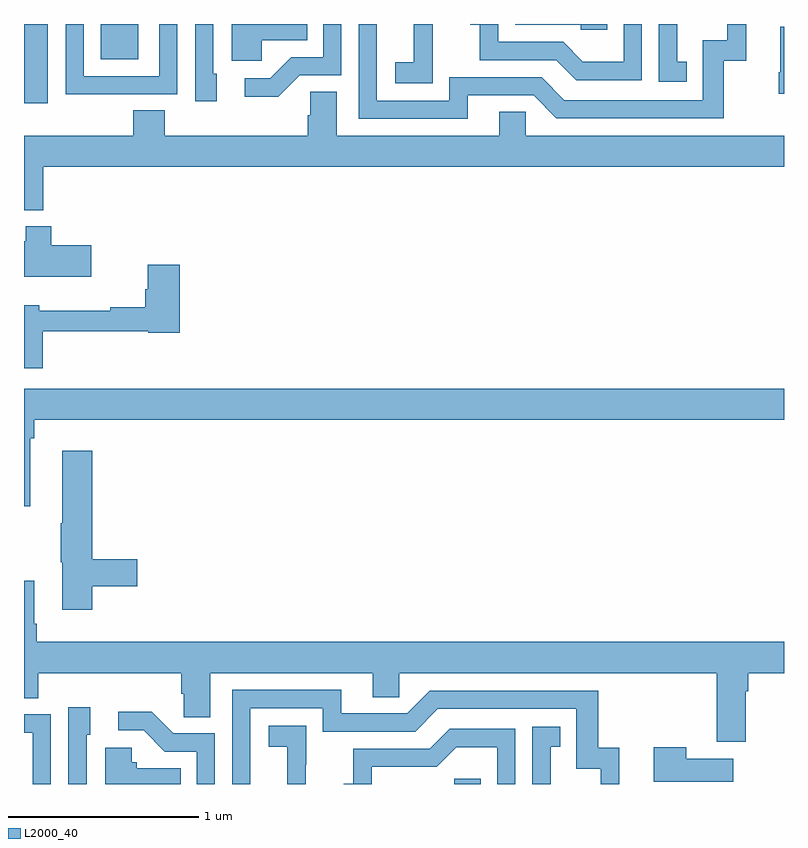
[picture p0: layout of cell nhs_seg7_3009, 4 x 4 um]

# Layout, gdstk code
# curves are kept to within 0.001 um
import gdstk
lib = gdstk.Library(unit=1e-6, precision=1e-09)
def R(c, l, rs):  # rectangles x0, y0, x1, y1
    for r in rs: c.add(gdstk.rectangle(r[:2], r[2:], *l))
def P(c, l, *ps):  # polygons
    for p in ps: c.add(gdstk.Polygon(p, *l))
L2000_40 = (2000, 40)

nhs_seg7_3009 = lib.new_cell('nhs_seg7_3009')
R(nhs_seg7_3009, L2000_40, [(305.265,1032,305.405,1032.027), (303,1035.582,303.124,1036), (303.404,1035.815,303.601,1036)])
P(nhs_seg7_3009, L2000_40, [(304.251,1035.914),(304.49,1035.914),(304.49,1036),(304.094,1036),(304.094,1035.806),(304.251,1035.806)],
  [(305.335,1035.624),(305.682,1035.624),(305.802,1035.504),(306.682,1035.504),(306.682,1035.807),(306.8,1035.807),(306.8,1036),(306.702,1036),(306.702,1035.915),(306.573,1035.915),(306.573,1035.6),(305.844,1035.6),(305.724,1035.72),(305.238,1035.72),(305.238,1035.597),(304.857,1035.597),(304.857,1036),(304.761,1036),(304.761,1035.501),(305.335,1035.501)],
  [(304.015,1035.738),(303.996,1035.738),(303.996,1036),(303.9,1036),(303.9,1035.594),(304.015,1035.594)],
  [(304.452,1035.729),(304.671,1035.729),(304.671,1036),(304.575,1036),(304.575,1035.825),(304.406,1035.825),(304.295,1035.714),(304.161,1035.714),(304.161,1035.617),(304.339,1035.617)],
  [(303.491,1035.63),(303.807,1035.63),(303.807,1036),(303.711,1036),(303.711,1035.726),(303.315,1035.726),(303.315,1036),(303.219,1036),(303.219,1035.629),(303.491,1035.629)],
  [(306.071,1036),(305.586,1036),(305.586,1035.996),(305.931,1035.996),(305.931,1035.969),(306.071,1035.969)],
  [(305.151,1035.895),(305.15,1035.895),(305.15,1036),(305.051,1036),(305.051,1035.799),(304.953,1035.799),(304.953,1035.689),(305.151,1035.689)],
  [(306.252,1036),(306.156,1036),(306.156,1035.802),(305.942,1035.802),(305.838,1035.906),(305.496,1035.906),(305.496,1036),(305.349,1036),(305.349,1035.995),(305.398,1035.995),(305.398,1035.81),(305.801,1035.81),(305.906,1035.705),(306.252,1035.705)],
  [(306.488,1035.801),(306.439,1035.801),(306.439,1036),(306.342,1036),(306.342,1035.696),(306.488,1035.696)],
  [(307,1035.985),(306.98,1035.985),(306.98,1035.745),(306.973,1035.745),(306.973,1035.632),(307,1035.632)],
  [(307,1035.412),(305.64,1035.412),(305.64,1035.539),(305.501,1035.539),(305.501,1035.412),(304.645,1035.412),(304.645,1035.644),(304.506,1035.644),(304.506,1035.521),(304.493,1035.521),(304.493,1035.412),(303.74,1035.412),(303.74,1035.545),(303.575,1035.545),(303.575,1035.412),(303,1035.412),(303,1035.02),(303.101,1035.02),(303.101,1035.248),(307,1035.248)],
  [(303.355,1034.835),(303.143,1034.835),(303.143,1034.935),(303.008,1034.935),(303.008,1034.857),(303,1034.857),(303,1034.669),(303.355,1034.669)],
  [(303.098,1034.382),(303.654,1034.382),(303.654,1034.374),(303.821,1034.374),(303.821,1034.734),(303.65,1034.734),(303.65,1034.604),(303.638,1034.604),(303.638,1034.51),(303.454,1034.51),(303.454,1034.491),(303.079,1034.491),(303.079,1034.521),(303,1034.521),(303,1034.187),(303.098,1034.187)],
  [(303.034,1033.82),(303.053,1033.82),(303.053,1033.916),(307,1033.916),(307,1034.08),(303,1034.08),(303,1033.461),(303.034,1033.461)],
  [(303.359,1033.042),(303.595,1033.042),(303.595,1033.184),(303.359,1033.184),(303.359,1033.753),(303.2,1033.753),(303.2,1033.373),(303.193,1033.373),(303.193,1033.167),(303.2,1033.167),(303.2,1032.918),(303.359,1032.918)],
  [(303.068,1032.844),(303.055,1032.844),(303.055,1033.069),(303,1033.069),(303,1032.451),(303.074,1032.451),(303.074,1032.584),(303.827,1032.584),(303.827,1032.475),(303.84,1032.475),(303.84,1032.352),(303.979,1032.352),(303.979,1032.584),(304.835,1032.584),(304.835,1032.457),(304.974,1032.457),(304.974,1032.584),(306.647,1032.584),(306.647,1032.222),(306.799,1032.222),(306.799,1032.488),(306.812,1032.488),(306.812,1032.584),(307,1032.584),(307,1032.748),(303.068,1032.748)],
  [(304.191,1032.399),(304.572,1032.399),(304.572,1032.276),(305.058,1032.276),(305.178,1032.396),(305.907,1032.396),(305.907,1032.081),(306.036,1032.081),(306.036,1032),(306.134,1032),(306.134,1032.19),(306.023,1032.19),(306.023,1032.492),(305.136,1032.492),(305.016,1032.372),(304.669,1032.372),(304.669,1032.495),(304.095,1032.495),(304.095,1032),(304.191,1032)],
  [(303.33,1032.258),(303.349,1032.258),(303.349,1032.403),(303.234,1032.403),(303.234,1032),(303.33,1032)],
  [(304.005,1032.267),(303.786,1032.267),(303.673,1032.38),(303.495,1032.38),(303.495,1032.282),(303.629,1032.282),(303.74,1032.171),(303.909,1032.171),(303.909,1032),(304.005,1032)],
  [(303.141,1032.366),(303,1032.366),(303,1032.27),(303.045,1032.27),(303.045,1032),(303.141,1032)],
  [(304.484,1032.101),(304.485,1032.101),(304.485,1032.307),(304.287,1032.307),(304.287,1032.197),(304.385,1032.197),(304.385,1032),(304.484,1032)],
  [(305.773,1032.195),(305.822,1032.195),(305.822,1032.301),(305.676,1032.301),(305.676,1032),(305.773,1032)],
  [(304.83,1032.09),(305.172,1032.09),(305.276,1032.194),(305.49,1032.194),(305.49,1032),(305.586,1032),(305.586,1032.291),(305.24,1032.291),(305.135,1032.186),(304.732,1032.186),(304.732,1032.001),(304.683,1032),(304.83,1032)],
  [(306.733,1032.133),(306.485,1032.133),(306.485,1032.193),(306.314,1032.193),(306.314,1032.011),(306.733,1032.011)],
  [(303.824,1032.082),(303.594,1032.082),(303.594,1032.114),(303.567,1032.114),(303.567,1032.19),(303.428,1032.19),(303.428,1032),(303.824,1032)])

lib.write_gds('nhs_seg7_3009.gds')
